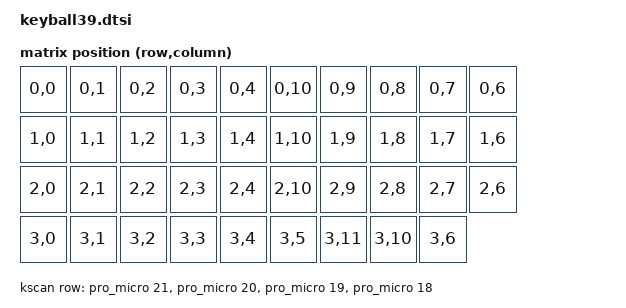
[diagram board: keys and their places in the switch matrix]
#include "keyball39-layouts.dtsi"
#include <dt-bindings/zmk/matrix_transform.h>

/ {
    chosen {
        zmk,physical-layout = &default_layout;
    };

    default_transform: default_transform {
        compatible = "zmk,matrix-transform";
        columns = <12>;
        rows = <4>;

        map = <
            RC(0, 0) RC(0, 1) RC(0, 2) RC(0, 3) RC(0, 4)    RC(0, 10) RC(0, 9) RC(0, 8) RC(0, 7) RC(0, 6)
            RC(1, 0) RC(1, 1) RC(1, 2) RC(1, 3) RC(1, 4)    RC(1, 10) RC(1, 9) RC(1, 8) RC(1, 7) RC(1, 6)
            RC(2, 0) RC(2, 1) RC(2, 2) RC(2, 3) RC(2, 4)    RC(2, 10) RC(2, 9) RC(2, 8) RC(2, 7) RC(2, 6)
            RC(3, 0) RC(3, 1) RC(3, 2) RC(3, 3) RC(3, 4) RC(3, 5)    RC(3, 11) RC(3, 10) RC(3, 6)
        >;
    };

    kscan: kscan {
        compatible = "zmk,kscan-gpio-matrix";
        diode-direction = "col2row";
        wakeup-source;

        row-gpios
            = <&pro_micro 21 (GPIO_ACTIVE_HIGH | GPIO_PULL_DOWN)>
            , <&pro_micro 20 (GPIO_ACTIVE_HIGH | GPIO_PULL_DOWN)>
            , <&pro_micro 19 (GPIO_ACTIVE_HIGH | GPIO_PULL_DOWN)>
            , <&pro_micro 18 (GPIO_ACTIVE_HIGH | GPIO_PULL_DOWN)>
            ;
    };

    split_inputs {
        #address-cells = <1>;
        #size-cells = <0>;

        keyball39_trackball_split: keyball39_trackball_split@0 {
            compatible = "zmk,input-split";
            reg = <0>;
        };
    };

    keyball39_trackball_listener: keyball39_trackball_listener {
        compatible = "zmk,input-listener";
        status = "disabled";
        device = <&keyball39_trackball_split>;
    };
};
